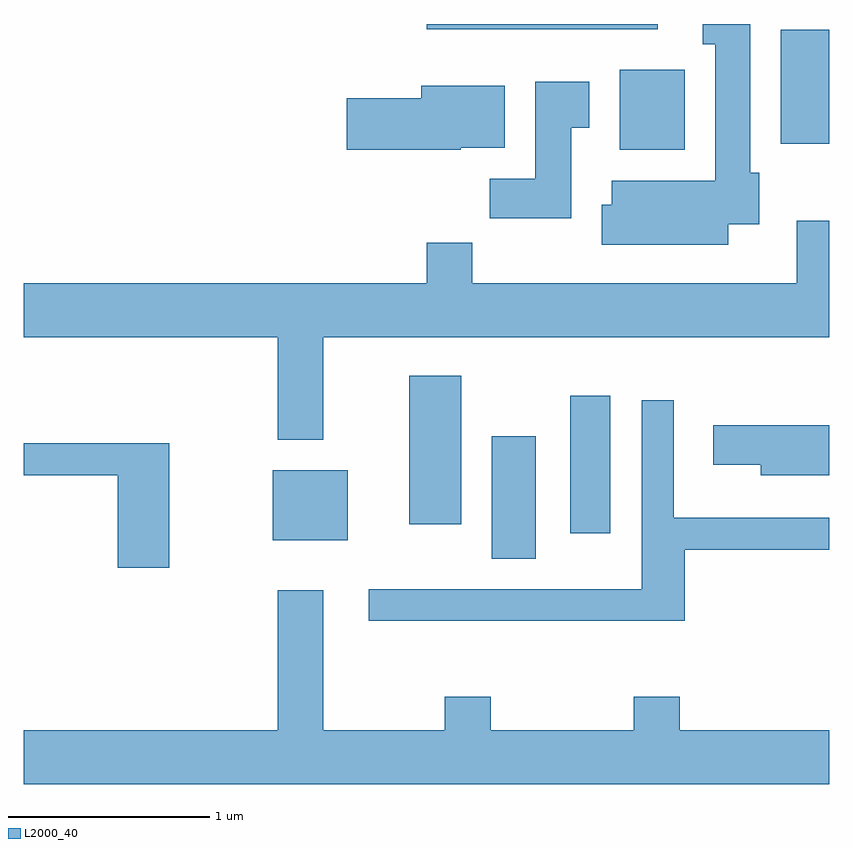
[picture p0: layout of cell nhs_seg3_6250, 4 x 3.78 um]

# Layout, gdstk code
import gdstk
lib = gdstk.Library(unit=1e-6, precision=1e-09)
def R(c, l, rs):  # rectangles x0, y0, x1, y1
    for r in rs: c.add(gdstk.rectangle(r[:2], r[2:], *l))
def P(c, l, *ps):  # polygons
    for p in ps: c.add(gdstk.Polygon(p, *l))
L2000_40 = (2000, 40)

nhs_seg3_6250 = lib.new_cell('nhs_seg3_6250')
R(nhs_seg3_6250, L2000_40, [(369.936,1249.236,370.154,1249.844), (368.846,1249.326,369.219,1249.674), (370.326,1249.361,370.524,1250.044), (369.526,1249.406,369.784,1250.144), (370.571,1251.266,370.894,1251.664), (371.371,1251.296,371.611,1251.864), (369.611,1251.866,370.759,1251.892)])
P(nhs_seg3_6250, L2000_40, [(371.109,1250.896),(371.264,1250.896),(371.264,1251.154),(371.219,1251.154),(371.219,1251.892),(370.983,1251.892),(370.983,1251.791),(371.046,1251.791),(371.046,1251.114),(370.531,1251.114),(370.531,1250.994),(370.481,1250.994),(370.481,1250.796),(371.109,1250.796)],
  [(370.329,1251.376),(370.419,1251.376),(370.419,1251.604),(370.151,1251.604),(370.151,1251.124),(369.926,1251.124),(369.926,1250.926),(370.329,1250.926)],
  [(369.78,1251.276),(369.999,1251.276),(369.999,1251.584),(369.586,1251.584),(369.586,1251.524),(369.216,1251.524),(369.216,1251.266),(369.78,1251.266)],
  [(369.099,1250.336),(371.611,1250.336),(371.611,1250.914),(371.451,1250.914),(371.451,1250.604),(369.839,1250.604),(369.839,1250.804),(369.611,1250.804),(369.611,1250.604),(367.611,1250.604),(367.611,1250.336),(368.871,1250.336),(368.871,1249.826),(369.099,1249.826)],
  [(370.894,1249.281),(371.611,1249.281),(371.611,1249.439),(370.839,1249.439),(370.839,1250.023),(370.681,1250.023),(370.681,1249.084),(369.323,1249.084),(369.323,1248.926),(370.894,1248.926)],
  [(371.611,1249.899),(371.036,1249.899),(371.036,1249.701),(371.271,1249.701),(371.271,1249.651),(371.611,1249.651)],
  [(368.334,1249.809),(367.611,1249.809),(367.611,1249.651),(368.076,1249.651),(368.076,1249.191),(368.334,1249.191)],
  [(371.611,1248.384),(370.869,1248.384),(370.869,1248.549),(370.641,1248.549),(370.641,1248.384),(369.929,1248.384),(369.929,1248.549),(369.701,1248.549),(369.701,1248.384),(369.099,1248.384),(369.099,1249.079),(368.871,1249.079),(368.871,1248.384),(367.611,1248.384),(367.611,1248.116),(371.611,1248.116)])

lib.write_gds('nhs_seg3_6250.gds')
